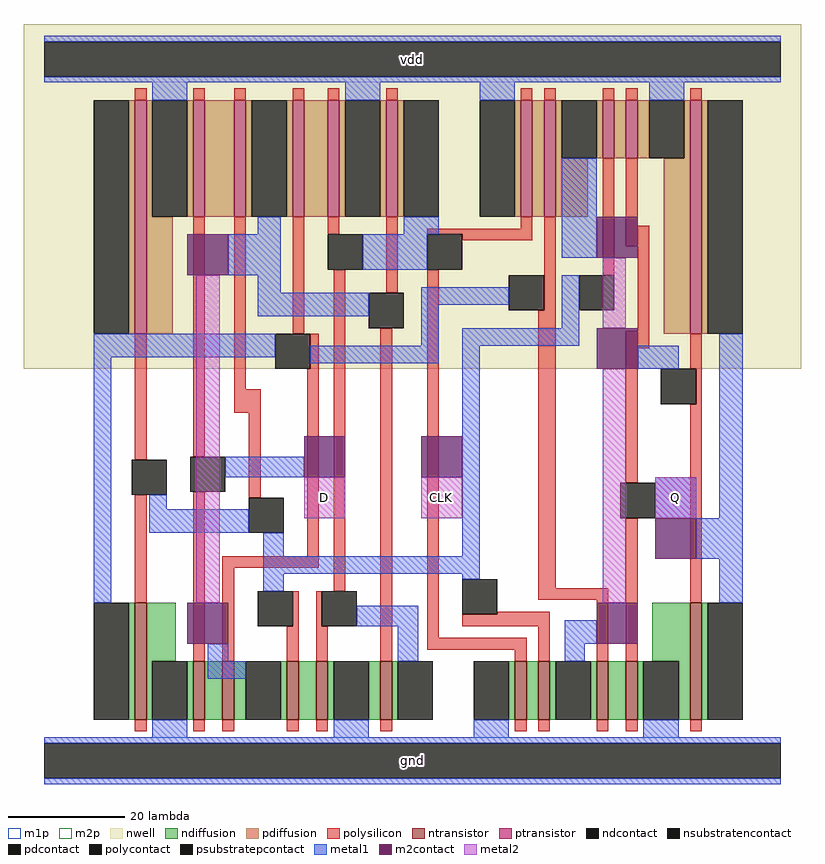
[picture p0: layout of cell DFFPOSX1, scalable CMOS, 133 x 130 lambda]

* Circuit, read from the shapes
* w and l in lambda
.subckt DFFPOSX1 D CLK Q vdd gnd
M1 gnd CLK n1 gnd nfet w=20 l=2
M2 n2 D gnd gnd nfet w=10 l=2
M3 n3 n1 n2 gnd nfet w=10 l=2
M4 n4 CLK n3 gnd nfet w=10 l=2
M5 gnd n5 n4 gnd nfet w=10 l=2
M6 n5 n3 gnd gnd nfet w=10 l=2
M7 n6 n5 gnd gnd nfet w=10 l=2
M8 n7 CLK n6 gnd nfet w=10 l=2
M9 n8 n1 n7 gnd nfet w=10 l=2
M10 gnd Q n8 gnd nfet w=10 l=2
M11 Q n7 gnd gnd nfet w=20 l=2
M12 vdd CLK n1 vdd pfet w=40 l=2
M13 n9 D vdd vdd pfet w=20 l=2
M14 n3 CLK n9 vdd pfet w=20 l=2
M15 n10 n1 n3 vdd pfet w=20 l=2
M16 vdd n5 n10 vdd pfet w=20 l=2
M17 n5 n3 vdd vdd pfet w=20 l=2
M18 n11 n5 vdd vdd pfet w=20 l=2
M19 n7 n1 n11 vdd pfet w=20 l=2
M20 n12 CLK n7 vdd pfet w=10 l=2
M21 vdd Q n12 vdd pfet w=10 l=2
M22 Q n7 vdd vdd pfet w=40 l=2
.ends

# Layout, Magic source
magic
tech scmos
magscale 1 2
<< nwell >>
rect -13 134 253 252
<< ntransistor >>
rect 25 14 29 54
rect 45 14 49 34
rect 55 14 59 34
rect 77 14 81 34
rect 87 14 91 34
rect 109 14 113 34
rect 155 14 159 34
rect 163 14 167 34
rect 183 14 187 34
rect 193 14 197 34
rect 215 14 219 54
<< ptransistor >>
rect 25 146 29 226
rect 45 186 49 226
rect 59 186 63 226
rect 79 186 83 226
rect 91 186 95 226
rect 111 186 115 226
rect 157 186 161 226
rect 165 186 169 226
rect 185 206 189 226
rect 193 206 197 226
rect 215 146 219 226
<< ndiffusion >>
rect 23 14 25 54
rect 29 34 39 54
rect 202 34 215 54
rect 29 14 31 34
rect 43 14 45 34
rect 49 14 55 34
rect 59 14 63 34
rect 75 14 77 34
rect 81 14 87 34
rect 91 14 93 34
rect 105 14 109 34
rect 113 14 115 34
rect 153 14 155 34
rect 159 14 163 34
rect 167 14 169 34
rect 181 14 183 34
rect 187 14 193 34
rect 197 14 199 34
rect 211 14 215 34
rect 219 14 221 54
<< pdiffusion >>
rect 23 146 25 226
rect 29 186 31 226
rect 43 186 45 226
rect 49 186 59 226
rect 63 186 65 226
rect 77 186 79 226
rect 83 186 91 226
rect 95 186 97 226
rect 109 186 111 226
rect 115 186 117 226
rect 155 186 157 226
rect 161 186 165 226
rect 169 206 171 226
rect 183 206 185 226
rect 189 206 193 226
rect 197 206 201 226
rect 213 206 215 226
rect 169 186 180 206
rect 29 146 38 186
rect 206 146 215 206
rect 219 146 221 226
<< ndcontact >>
rect 11 14 23 54
rect 31 14 43 34
rect 63 14 75 34
rect 93 14 105 34
rect 115 14 127 34
rect 141 14 153 34
rect 169 14 181 34
rect 199 14 211 34
rect 221 14 233 54
<< pdcontact >>
rect 11 146 23 226
rect 31 186 43 226
rect 65 186 77 226
rect 97 186 109 226
rect 117 186 129 226
rect 143 186 155 226
rect 171 206 183 226
rect 201 206 213 226
rect 221 146 233 226
<< psubstratepcontact >>
rect -6 -6 246 6
<< nsubstratencontact >>
rect -6 234 246 246
<< polysilicon >>
rect 25 226 29 230
rect 45 226 49 230
rect 59 226 63 230
rect 79 226 83 230
rect 91 226 95 230
rect 111 226 115 230
rect 157 226 161 230
rect 165 226 169 230
rect 185 226 189 230
rect 193 226 197 230
rect 215 226 219 230
rect 25 103 29 146
rect 45 104 49 186
rect 59 127 63 186
rect 79 146 83 186
rect 91 180 95 186
rect 85 134 88 146
rect 59 119 68 127
rect 25 54 29 91
rect 45 34 49 92
rect 64 90 68 119
rect 84 70 88 134
rect 55 66 88 70
rect 55 34 59 66
rect 93 58 97 168
rect 111 160 115 186
rect 157 182 161 186
rect 125 180 161 182
rect 137 178 161 180
rect 79 46 81 58
rect 77 34 81 46
rect 87 46 89 58
rect 87 34 91 46
rect 109 34 113 148
rect 125 42 129 168
rect 165 154 169 186
rect 185 166 189 206
rect 193 183 197 206
rect 193 176 201 183
rect 163 59 169 154
rect 197 147 201 176
rect 193 141 201 147
rect 193 95 197 141
rect 215 134 219 146
rect 217 122 219 134
rect 163 55 187 59
rect 149 50 167 51
rect 137 46 167 50
rect 125 38 159 42
rect 155 34 159 38
rect 163 34 167 46
rect 183 34 187 55
rect 193 34 197 83
rect 215 54 219 122
rect 25 10 29 14
rect 45 10 49 14
rect 55 10 59 14
rect 77 10 81 14
rect 87 10 91 14
rect 109 10 113 14
rect 155 10 159 14
rect 163 10 167 14
rect 183 10 187 14
rect 193 10 197 14
rect 215 10 219 14
<< polycontact >>
rect 91 168 103 180
rect 73 134 85 146
rect 24 91 36 103
rect 44 92 56 104
rect 64 78 76 90
rect 125 168 137 180
rect 105 148 117 160
rect 67 46 79 58
rect 89 46 101 58
rect 153 154 165 166
rect 177 154 189 166
rect 137 50 149 62
rect 205 122 217 134
rect 191 83 203 95
<< metal1 >>
rect -6 246 246 248
rect -6 232 246 234
rect 31 226 43 232
rect 97 226 109 232
rect 143 226 155 232
rect 201 226 213 232
rect 67 180 75 186
rect 117 180 129 186
rect 57 166 75 180
rect 103 168 125 180
rect 171 172 183 206
rect 67 160 75 166
rect 67 152 105 160
rect 123 156 153 162
rect 11 138 73 146
rect 11 54 17 138
rect 123 142 129 156
rect 171 148 177 166
rect 85 136 129 142
rect 137 142 177 148
rect 56 97 83 104
rect 30 86 36 91
rect 30 78 64 86
rect 69 70 76 78
rect 137 70 143 142
rect 197 134 211 142
rect 203 83 217 97
rect 225 83 233 146
rect 69 64 143 70
rect 217 69 233 83
rect 69 58 76 64
rect 137 62 143 64
rect 101 46 122 53
rect 225 54 233 69
rect 50 34 57 40
rect 115 34 122 46
rect 172 40 183 48
rect 172 34 179 40
rect 50 28 63 34
rect 31 8 43 14
rect 93 8 105 14
rect 141 8 153 14
rect 199 8 211 14
rect -6 6 246 8
rect -6 -8 246 -6
<< m2contact >>
rect 43 166 57 180
rect 183 172 197 186
rect 83 97 97 111
rect 123 97 137 111
rect 183 134 197 148
rect 203 69 217 83
rect 43 40 57 54
rect 183 40 197 54
<< metal2 >>
rect 46 54 54 166
rect 185 148 193 172
rect 83 83 97 97
rect 123 83 137 97
rect 185 54 193 134
rect 203 83 217 97
<< m1p >>
rect -6 232 246 248
rect -6 -8 246 8
<< m2p >>
rect 83 83 97 97
rect 123 83 137 97
rect 203 83 217 97
<< labels >>
rlabel metal1 -6 -8 246 8 0 gnd
port 4 nsew ground bidirectional abutment
rlabel metal1 -6 232 246 248 0 vdd
port 3 nsew power bidirectional abutment
rlabel metal2 83 83 97 97 0 D
port 0 nsew signal input
rlabel metal2 123 83 137 97 0 CLK
port 1 nsew clock input
rlabel metal2 203 83 217 97 0 Q
port 2 nsew signal output
<< properties >>
string FIXED_BBOX 0 0 240 240
string LEFclass CORE
string LEFsite core
string LEFsymmetry X Y
<< end >>
